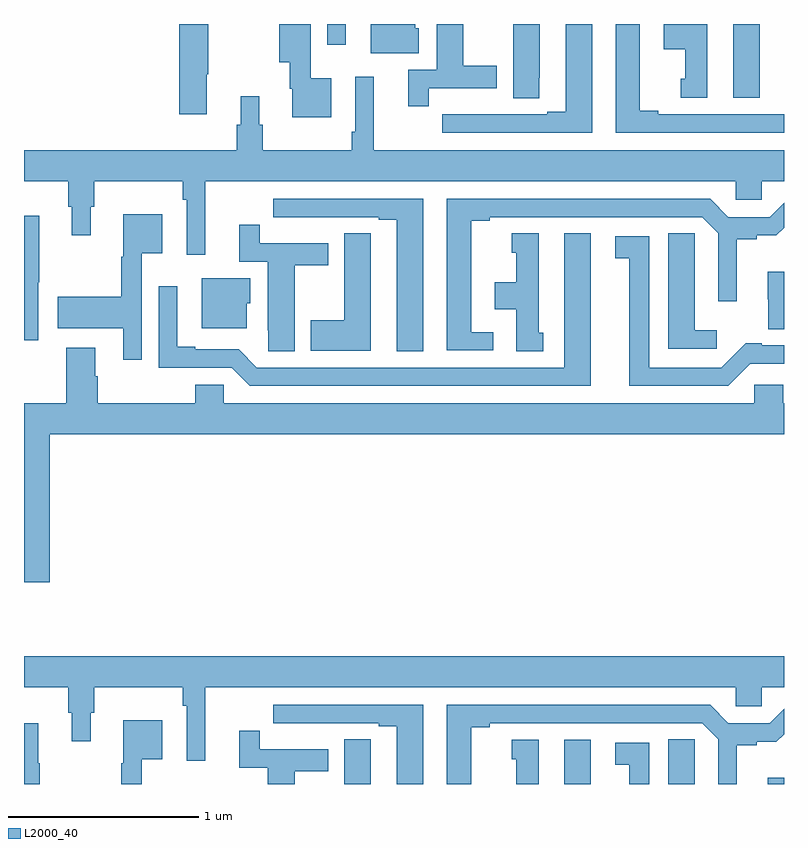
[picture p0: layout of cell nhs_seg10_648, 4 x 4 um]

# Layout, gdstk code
import gdstk
lib = gdstk.Library(unit=1e-6, precision=1e-09)
def R(c, l, rs):  # rectangles x0, y0, x1, y1
    for r in rs: c.add(gdstk.rectangle(r[:2], r[2:], *l))
def P(c, l, *ps):  # polygons
    for p in ps: c.add(gdstk.Polygon(p, *l))
L2000_40 = (2000, 40)

nhs_seg10_648 = lib.new_cell('nhs_seg10_648')
R(nhs_seg10_648, L2000_40, [(145.844,1274.5,145.984,1274.734), (146.915,1274.5,147,1274.533), (146.732,1278.111,146.872,1278.5), (144.597,1278.39,144.694,1278.5)])
P(nhs_seg10_648, L2000_40, [(145.713,1278.217),(145.714,1278.217),(145.714,1278.5),(145.574,1278.5),(145.574,1278.109),(145.713,1278.109)],
  [(145.99,1278.5),(145.85,1278.5),(145.85,1278.039),(145.754,1278.039),(145.754,1278.024),(145.478,1278.024),(145.478,1278.025),(145.312,1278.025),(145.312,1278.024),(145.2,1278.024),(145.2,1277.928),(145.99,1277.928)],
  [(145.078,1278.477),(145.06,1278.477),(145.06,1278.5),(144.824,1278.5),(144.824,1278.347),(145.078,1278.347)],
  [(146.596,1278.5),(146.366,1278.5),(146.366,1278.368),(146.48,1278.368),(146.48,1278.213),(146.456,1278.213),(146.456,1278.111),(146.596,1278.111)],
  [(147,1278.024),(146.338,1278.024),(146.338,1278.044),(146.242,1278.044),(146.242,1278.5),(146.114,1278.5),(146.114,1277.928),(147,1277.928)],
  [(145.13,1278.162),(145.489,1278.162),(145.489,1278.279),(145.312,1278.279),(145.312,1278.5),(145.172,1278.5),(145.172,1278.258),(145.022,1278.258),(145.022,1278.066),(145.13,1278.066)],
  [(143.962,1278.236),(143.97,1278.236),(143.97,1278.5),(143.816,1278.5),(143.816,1278.024),(143.962,1278.024)],
  [(144.616,1278.214),(144.51,1278.214),(144.51,1278.5),(144.343,1278.5),(144.343,1278.299),(144.399,1278.299),(144.399,1278.158),(144.411,1278.158),(144.411,1278.008),(144.616,1278.008)],
  [(143.954,1277.672),(146.745,1277.672),(146.745,1277.574),(146.883,1277.574),(146.883,1277.672),(147,1277.672),(147,1277.836),(144.842,1277.836),(144.842,1278.223),(144.744,1278.223),(144.744,1277.932),(144.724,1277.932),(144.724,1277.836),(144.257,1277.836),(144.257,1277.97),(144.238,1277.97),(144.238,1278.121),(144.14,1278.121),(144.14,1277.97),(144.121,1277.97),(144.121,1277.836),(143,1277.836),(143,1277.672),(143.233,1277.672),(143.233,1277.538),(143.252,1277.538),(143.252,1277.388),(143.35,1277.388),(143.35,1277.538),(143.369,1277.538),(143.369,1277.672),(143.836,1277.672),(143.836,1277.576),(143.856,1277.576),(143.856,1277.286),(143.954,1277.286)],
  [(145.102,1277.58),(144.312,1277.58),(144.312,1277.484),(144.424,1277.484),(144.424,1277.483),(144.59,1277.483),(144.59,1277.484),(144.866,1277.484),(144.866,1277.469),(144.962,1277.469),(144.962,1276.777),(145.102,1276.777)],
  [(145.471,1276.878),(145.354,1276.878),(145.354,1277.464),(145.45,1277.464),(145.45,1277.484),(146.571,1277.484),(146.655,1277.4),(146.655,1277.04),(146.752,1277.04),(146.752,1277.368),(146.856,1277.368),(146.856,1277.387),(146.96,1277.387),(147,1277.427),(147,1277.559),(146.925,1277.484),(146.707,1277.484),(146.611,1277.58),(145.226,1277.58),(145.226,1276.782),(145.471,1276.782)],
  [(143.619,1277.294),(143.728,1277.294),(143.728,1277.5),(143.522,1277.5),(143.522,1277.274),(143.511,1277.274),(143.511,1277.064),(143.178,1277.064),(143.178,1276.898),(143.522,1276.898),(143.522,1276.734),(143.619,1276.734)],
  [(143.074,1277.142),(143.08,1277.142),(143.08,1277.491),(143,1277.491),(143,1276.836),(143.074,1276.836)],
  [(144.424,1277.23),(144.601,1277.23),(144.601,1277.346),(144.242,1277.346),(144.242,1277.443),(144.134,1277.443),(144.134,1277.25),(144.284,1277.25),(144.284,1276.888),(144.285,1276.888),(144.285,1276.777),(144.424,1276.777)],
  [(146.647,1276.888),(146.53,1276.888),(146.53,1277.291),(146.529,1277.291),(146.529,1277.399),(146.39,1277.399),(146.39,1276.791),(146.647,1276.791)],
  [(144.826,1277.291),(144.825,1277.291),(144.825,1277.399),(144.686,1277.399),(144.686,1276.941),(144.509,1276.941),(144.509,1276.781),(144.826,1276.781)],
  [(145.984,1277.398),(145.844,1277.398),(145.844,1276.692),(144.225,1276.692),(144.129,1276.788),(143.902,1276.788),(143.902,1276.801),(143.806,1276.801),(143.806,1277.119),(143.709,1277.119),(143.709,1276.692),(144.093,1276.692),(144.189,1276.596),(145.984,1276.596)],
  [(145.732,1276.875),(145.708,1276.875),(145.708,1277.398),(145.568,1277.398),(145.568,1277.295),(145.592,1277.295),(145.592,1277.14),(145.478,1277.14),(145.478,1277),(145.592,1277),(145.592,1276.777),(145.732,1276.777)],
  [(146.823,1276.713),(147,1276.713),(147,1276.809),(146.884,1276.809),(146.884,1276.82),(146.798,1276.82),(146.67,1276.692),(146.29,1276.692),(146.29,1277.382),(146.112,1277.382),(146.112,1277.266),(146.186,1277.266),(146.186,1276.596),(146.706,1276.596)],
  [(147,1277.197),(146.915,1277.197),(146.915,1277.052),(146.917,1277.052),(146.917,1276.894),(147,1276.894)],
  [(144.172,1277.031),(144.19,1277.031),(144.19,1277.161),(143.936,1277.161),(143.936,1276.898),(144.172,1276.898)],
  [(143.135,1276.34),(147,1276.34),(147,1276.504),(146.996,1276.504),(146.996,1276.602),(146.844,1276.602),(146.844,1276.504),(144.051,1276.504),(144.051,1276.602),(143.9,1276.602),(143.9,1276.504),(143.387,1276.504),(143.387,1276.646),(143.374,1276.646),(143.374,1276.795),(143.222,1276.795),(143.222,1276.504),(143,1276.504),(143,1275.561),(143.135,1275.561)],
  [(143.954,1275.008),(146.745,1275.008),(146.745,1274.91),(146.883,1274.91),(146.883,1275.008),(147,1275.008),(147,1275.172),(143,1275.172),(143,1275.008),(143.233,1275.008),(143.233,1274.874),(143.252,1274.874),(143.252,1274.724),(143.35,1274.724),(143.35,1274.874),(143.369,1274.874),(143.369,1275.008),(143.836,1275.008),(143.836,1274.912),(143.856,1274.912),(143.856,1274.622),(143.954,1274.622)],
  [(145.354,1274.8),(145.45,1274.8),(145.45,1274.82),(146.571,1274.82),(146.655,1274.736),(146.655,1274.5),(146.752,1274.5),(146.752,1274.704),(146.856,1274.704),(146.856,1274.723),(146.96,1274.723),(147,1274.763),(147,1274.895),(146.925,1274.82),(146.707,1274.82),(146.611,1274.916),(145.226,1274.916),(145.226,1274.5),(145.354,1274.5)],
  [(145.102,1274.916),(144.312,1274.916),(144.312,1274.82),(144.424,1274.82),(144.424,1274.819),(144.59,1274.819),(144.59,1274.82),(144.866,1274.82),(144.866,1274.805),(144.962,1274.805),(144.962,1274.5),(145.102,1274.5)],
  [(143.619,1274.63),(143.728,1274.63),(143.728,1274.836),(143.522,1274.836),(143.522,1274.61),(143.511,1274.61),(143.511,1274.5),(143.619,1274.5)],
  [(143.082,1274.608),(143.074,1274.608),(143.074,1274.821),(143,1274.821),(143,1274.5),(143.082,1274.5)],
  [(144.424,1274.566),(144.601,1274.566),(144.601,1274.682),(144.242,1274.682),(144.242,1274.779),(144.134,1274.779),(144.134,1274.586),(144.284,1274.586),(144.284,1274.5),(144.424,1274.5)],
  [(144.826,1274.627),(144.825,1274.627),(144.825,1274.735),(144.686,1274.735),(144.686,1274.5),(144.826,1274.5)],
  [(146.53,1274.627),(146.529,1274.627),(146.529,1274.735),(146.39,1274.735),(146.39,1274.5),(146.53,1274.5)],
  [(145.708,1274.734),(145.568,1274.734),(145.568,1274.631),(145.592,1274.631),(145.592,1274.5),(145.708,1274.5)],
  [(146.29,1274.718),(146.112,1274.718),(146.112,1274.602),(146.186,1274.602),(146.186,1274.5),(146.29,1274.5)])

lib.write_gds('nhs_seg10_648.gds')
